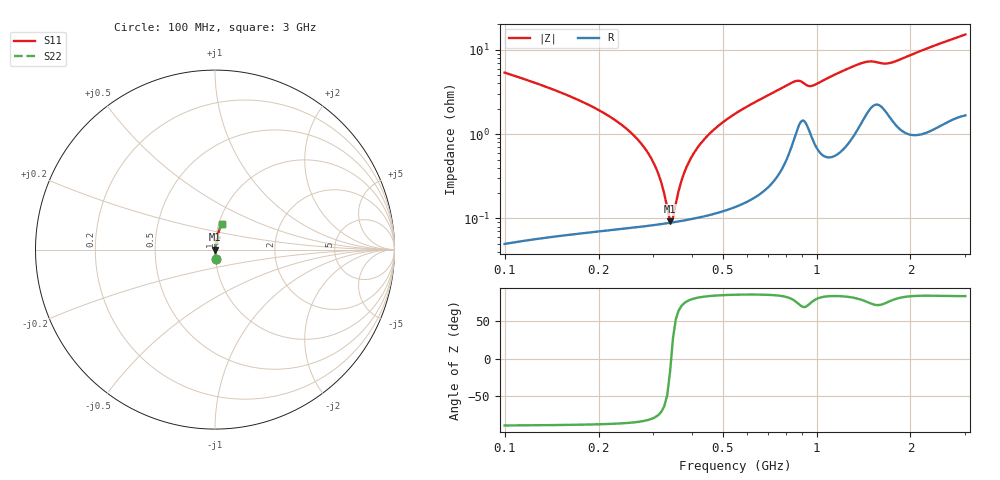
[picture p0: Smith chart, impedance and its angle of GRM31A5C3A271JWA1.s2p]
!Murata Part Number: GRM31A5C3A271JWA1
!These Parameters are Measured in Series Mode Connection
!Data Generated on Mar 30, 2021
!  o--ll--o
!Port1  Port2
!  o------o
!Operation Temp=25[degC], DC Bias Voltage=0[V]
!Freq. Start=100[MHz] Stop=3[GHz] 401[Steps]
# Hz S RI R 50
!Freq.(Hz) S11(Real) S11(Imag) S21(Real) S21(Imag) S12(Real) S12(Imag) S22(Real) S22(Imag)
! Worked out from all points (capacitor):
!   401 points, 100 MHz to 3 GHz, reference 50 ohm
!   read as one part in series: C = 271 pF near 114.5 MHz
!   lowest |Z| = 92.8 mohm at 339.2 MHz (marker M1)
!   series resonance near 341.9 MHz, so ESL is about 800 pH
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1e8  0.00337 -0.0535  0.9966 0.0535  0.9966 0.0535  0.00337 -0.0535
2.16e8  0.000988 -0.0163  0.999 0.0163  0.999 0.0163  0.000988 -0.0163
2.6675e8  0.000862 -0.00864  0.9991 0.00864  0.9991 0.00864  0.000862 -0.00864
3.03e8  0.000853 -0.00418  0.9991 0.00418  0.9991 0.00418  0.000853 -0.00418
3.32e8  0.000877 -0.00102  0.9991 0.00102  0.9991 0.00102  0.000877 -0.00102
3.3925e8  0.000887 -0.000272  0.9991 0.000272  0.9991 0.000272  0.000887 -0.000272
3.465e8  0.000898 0.00046  0.9991 -0.00046  0.9991 -0.00046  0.000898 0.00046
3.5375e8  0.00091 0.00118  0.9991 -0.00118  0.9991 -0.00118  0.00091 0.00118
3.755e8  0.000954 0.00325  0.999 -0.00325  0.999 -0.00325  0.000954 0.00325
3.9e8  0.00099 0.00458  0.999 -0.00458  0.999 -0.00458  0.00099 0.00458
4.2625e8  0.0011 0.00775  0.9989 -0.00775  0.9989 -0.00775  0.0011 0.00775
4.915e8  0.00136 0.013  0.9986 -0.013  0.9986 -0.013  0.00136 0.013
5.8575e8  0.00192 0.0202  0.9981 -0.0202  0.9981 -0.0202  0.00192 0.0202
8.4675e8  0.0102 0.0402  0.9898 -0.0402  0.9898 -0.0402  0.0102 0.0402
9.555e8  0.0112 0.035  0.9888 -0.035  0.9888 -0.035  0.0112 0.035
1.0715e9  0.0073 0.0442  0.9927 -0.0442  0.9927 -0.0442  0.0073 0.0442
1.36875e9  0.0163 0.065  0.9837 -0.065  0.9837 -0.065  0.0163 0.065
1.55e9  0.0262 0.0649  0.9738 -0.0649  0.9738 -0.0649  0.0262 0.0649
1.7095e9  0.0203 0.0652  0.9797 -0.0652  0.9797 -0.0652  0.0203 0.0652
2.03575e9  0.0172 0.0862  0.9828 -0.0862  0.9828 -0.0862  0.0172 0.0862
2.5215e9  0.0264 0.1157  0.9736 -0.1157  0.9736 -0.1157  0.0264 0.1157
3e9  0.0377 0.1433  0.9623 -0.1433  0.9623 -0.1433  0.0377 0.1433
